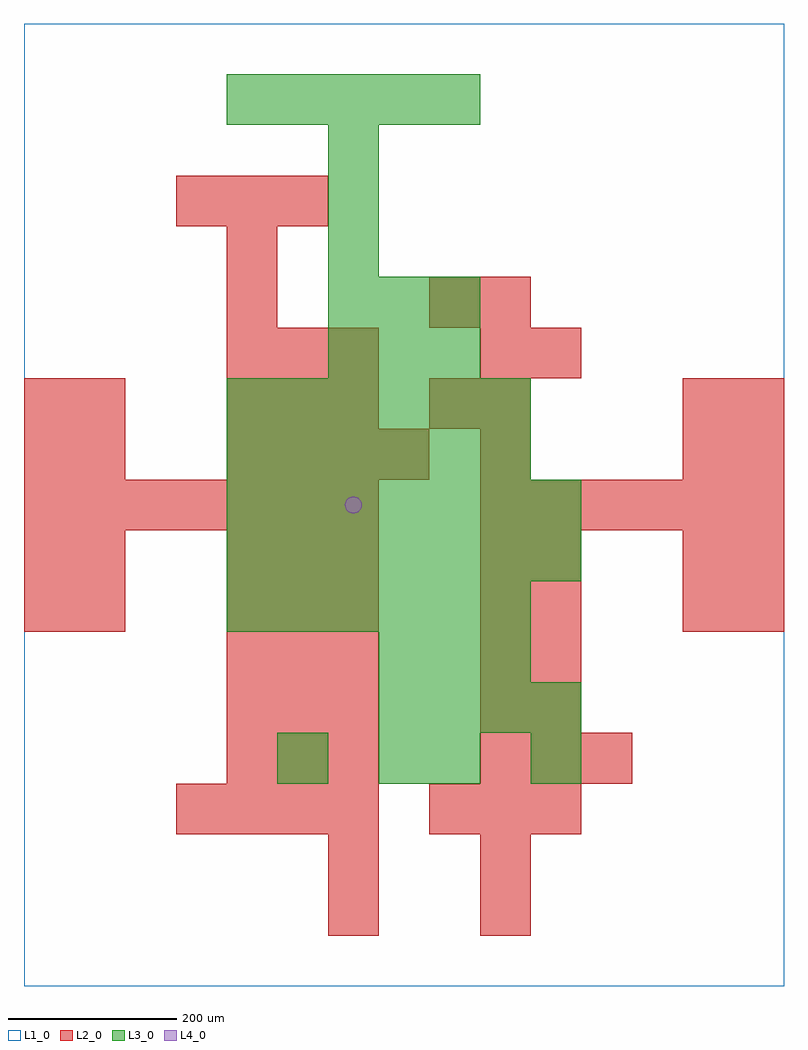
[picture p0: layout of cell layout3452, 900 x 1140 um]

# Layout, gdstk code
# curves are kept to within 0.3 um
import gdstk
lib = gdstk.Library(unit=1e-6, precision=1e-09)
def R(c, l, rs):  # rectangles x0, y0, x1, y1
    for r in rs: c.add(gdstk.rectangle(r[:2], r[2:], *l))
def A(c, l, x, y, w, h, nx, ny, dx, dy):  # array of equal rectangles
    R(c, l, [(x+i*dx, y+j*dy, x+i*dx+w, y+j*dy+h) for i in range(nx) for j in range(ny)])
def P(c, l, *ps):  # polygons
    for p in ps: c.add(gdstk.Polygon(p, *l))
L1_0 = (1, 0)
L2_0 = (2, 0)
L3_0 = (3, 0)
L4_0 = (4, 0)

layout3452 = lib.new_cell('layout3452')
R(layout3452, L1_0, [(0,0,900,1140)])
A(layout3452, L2_0, 180, 180, 60, 60, 4, 1, 60, 0)
A(layout3452, L2_0, 480, 180, 60, 60, 3, 1, 60, 0)
A(layout3452, L2_0, 240, 240, 60, 60, 3, 5, 60, 60)
A(layout3452, L2_0, 540, 240, 60, 60, 3, 1, 60, 0)
A(layout3452, L2_0, 540, 300, 60, 60, 1, 4, 0, 60)
A(layout3452, L2_0, 600, 300, 60, 60, 1, 4, 0, 60)
A(layout3452, L2_0, 0, 540, 60, 60, 7, 1, 60, 0)
A(layout3452, L2_0, 540, 540, 60, 60, 6, 1, 60, 0)
A(layout3452, L2_0, 240, 600, 60, 60, 4, 1, 60, 0)
A(layout3452, L2_0, 540, 600, 60, 60, 1, 4, 0, 60)
A(layout3452, L2_0, 240, 660, 60, 60, 3, 2, 60, 60)
A(layout3452, L2_0, 180, 900, 60, 60, 3, 1, 60, 0)
R(layout3452, L2_0, [(360,60,420,120), (540,60,600,120), (360,120,420,180), (540,120,600,180), (0,420,60,480), (60,420,120,480), (780,420,840,480), (840,420,900,480), (0,480,60,540), (60,480,120,540), (780,480,840,540), (840,480,900,540), (0,600,60,660), (60,600,120,660), (780,600,840,660), (840,600,900,660), (0,660,60,720), (60,660,120,720), (480,660,540,720), (780,660,840,720), (840,660,900,720), (600,720,660,780), (240,780,300,840), (480,780,540,840), (240,840,300,900)])
A(layout3452, L3_0, 420, 300, 60, 60, 4, 1, 60, 0)
A(layout3452, L3_0, 420, 360, 60, 60, 3, 1, 60, 0)
A(layout3452, L3_0, 240, 420, 60, 60, 6, 2, 60, 180)
A(layout3452, L3_0, 240, 480, 60, 60, 7, 2, 60, 60)
A(layout3452, L3_0, 240, 660, 60, 60, 6, 1, 60, 0)
A(layout3452, L3_0, 360, 720, 60, 60, 3, 2, 60, 60)
A(layout3452, L3_0, 360, 840, 60, 60, 1, 3, 0, 60)
A(layout3452, L3_0, 240, 1020, 60, 60, 5, 1, 60, 0)
R(layout3452, L3_0, [(300,240,360,300), (420,240,480,300), (480,240,540,300), (600,240,660,300)])
P(layout3452, L4_0, [(400,570),(399.239,573.827),(397.071,577.071),(393.827,579.239),(390,580),(386.173,579.239),(382.929,577.071),(380.761,573.827),(380,570),(380.761,566.173),(382.929,562.929),(386.173,560.761),(390,560),(393.827,560.761),(397.071,562.929),(399.239,566.173)])

lib.write_gds('layout3452.gds')
